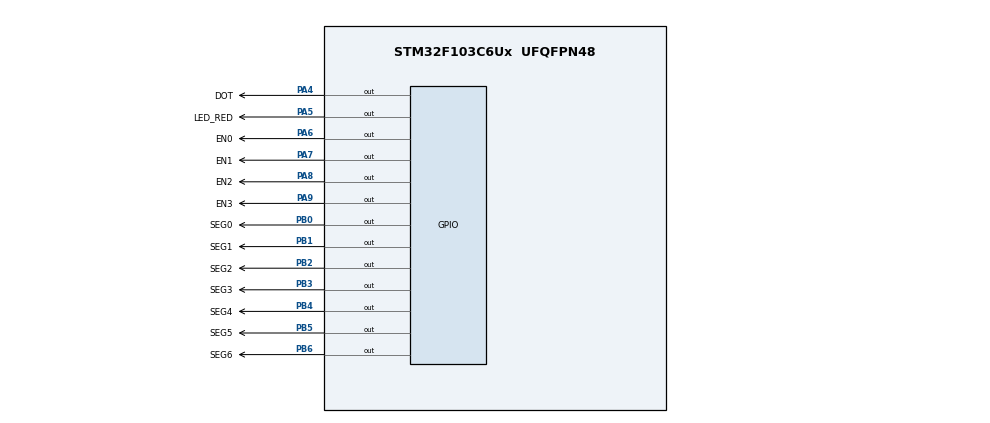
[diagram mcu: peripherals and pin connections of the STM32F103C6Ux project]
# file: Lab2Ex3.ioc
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Mcu.Family=STM32F1
Mcu.Name=STM32F103C6Ux
Mcu.Package=UFQFPN48
NVIC.PriorityGroup=NVIC_PRIORITYGROUP_4
NVIC.TIM2_IRQn=true\:0\:0\:false\:false\:true\:true\:true
PA4.GPIO_Label=DOT
PA4.Signal=GPIO_Output
PA5.GPIO_Label=LED_RED
PA5.Signal=GPIO_Output
PA6.GPIO_Label=EN0
PA6.Signal=GPIO_Output
PA7.GPIO_Label=EN1
PA7.Signal=GPIO_Output
PA8.GPIO_Label=EN2
PA8.Signal=GPIO_Output
PA9.GPIO_Label=EN3
PA9.Signal=GPIO_Output
PB0.GPIO_Label=SEG0
PB0.Signal=GPIO_Output
PB1.GPIO_Label=SEG1
PB1.Signal=GPIO_Output
PB2.GPIO_Label=SEG2
PB2.Signal=GPIO_Output
PB3.GPIO_Label=SEG3
PB3.Signal=GPIO_Output
PB4.GPIO_Label=SEG4
PB4.Signal=GPIO_Output
PB5.GPIO_Label=SEG5
PB5.Signal=GPIO_Output
PB6.GPIO_Label=SEG6
PB6.Signal=GPIO_Output
ProjectManager.HeapSize=0x200
ProjectManager.StackSize=0x400
ProjectManager.TargetToolchain=STM32CubeIDE
RCC.APB1Freq_Value=8000000
RCC.APB2Freq_Value=8000000
TIM2.Period=9
TIM2.Prescaler=7999
VP_SYS_VS_ND.Mode=No_Debug
VP_TIM2_VS_ClockSourceINT.Mode=Internal
board=custom

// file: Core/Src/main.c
/* USER CODE BEGIN Header */
/**
  ******************************************************************************
  * @file           : main.c
  * @brief          : Main program body
  ******************************************************************************
  * @attention
  *
  * <h2><center>&copy; Copyright (c) 2025 STMicroelectronics.
  * All rights reserved.</center></h2>
  *
  * This software component is licensed by ST under BSD 3-Clause license,
  * the "License"; You may not use this file except in compliance with the
  * License. You may obtain a copy of the License at:
  *                        opensource.org/licenses/BSD-3-Clause
  *
  ******************************************************************************
  */
/* USER CODE END Header */
#include "main.h"

TIM_HandleTypeDef htim2;

void SystemClock_Config(void);
static void MX_GPIO_Init(void);
static void MX_TIM2_Init(void);

/* USER CODE BEGIN 0 */

// 7SEG DISPLAY
void display7SEG(int num) {
	switch(num) {
		case 0:
			HAL_GPIO_WritePin(SEG0_GPIO_Port, SEG0_Pin, GPIO_PIN_RESET);
			HAL_GPIO_WritePin(SEG1_GPIO_Port, SEG1_Pin, GPIO_PIN_RESET);
			HAL_GPIO_WritePin(SEG2_GPIO_Port, SEG2_Pin, GPIO_PIN_RESET);
			HAL_GPIO_WritePin(SEG3_GPIO_Port, SEG3_Pin, GPIO_PIN_RESET);
			HAL_GPIO_WritePin(SEG4_GPIO_Port, SEG4_Pin, GPIO_PIN_RESET);
			HAL_GPIO_WritePin(SEG5_GPIO_Port, SEG5_Pin, GPIO_PIN_RESET);
			HAL_GPIO_WritePin(SEG6_GPIO_Port, SEG6_Pin, GPIO_PIN_SET);
			break;
		case 1:
			HAL_GPIO_WritePin(SEG0_GPIO_Port, SEG0_Pin, GPIO_PIN_SET);
			HAL_GPIO_WritePin(SEG1_GPIO_Port, SEG1_Pin, GPIO_PIN_RESET);
			HAL_GPIO_WritePin(SEG2_GPIO_Port, SEG2_Pin, GPIO_PIN_RESET);
			HAL_GPIO_WritePin(SEG3_GPIO_Port, SEG3_Pin, GPIO_PIN_SET);
			HAL_GPIO_WritePin(SEG4_GPIO_Port, SEG4_Pin, GPIO_PIN_SET);
			HAL_GPIO_WritePin(SEG5_GPIO_Port, SEG5_Pin, GPIO_PIN_SET);
			HAL_GPIO_WritePin(SEG6_GPIO_Port, SEG6_Pin, GPIO_PIN_SET);
			break;
		case 2:
			HAL_GPIO_WritePin(SEG0_GPIO_Port, SEG0_Pin, GPIO_PIN_RESET);
			HAL_GPIO_WritePin(SEG1_GPIO_Port, SEG1_Pin, GPIO_PIN_RESET);
			HAL_GPIO_WritePin(SEG2_GPIO_Port, SEG2_Pin, GPIO_PIN_SET);
			HAL_GPIO_WritePin(SEG3_GPIO_Port, SEG3_Pin, GPIO_PIN_RESET);
			HAL_GPIO_WritePin(SEG4_GPIO_Port, SEG4_Pin, GPIO_PIN_RESET);
			HAL_GPIO_WritePin(SEG5_GPIO_Port, SEG5_Pin, GPIO_PIN_SET);
			HAL_GPIO_WritePin(SEG6_GPIO_Port, SEG6_Pin, GPIO_PIN_RESET);
			break;
		case 3:
			HAL_GPIO_WritePin(SEG0_GPIO_Port, SEG0_Pin, GPIO_PIN_RESET);
			HAL_GPIO_WritePin(SEG1_GPIO_Port, SEG1_Pin, GPIO_PIN_RESET);
			HAL_GPIO_WritePin(SEG2_GPIO_Port, SEG2_Pin, GPIO_PIN_RESET);
			HAL_GPIO_WritePin(SEG3_GPIO_Port, SEG3_Pin, GPIO_PIN_RESET);
			HAL_GPIO_WritePin(SEG4_GPIO_Port, SEG4_Pin, GPIO_PIN_SET);
			HAL_GPIO_WritePin(SEG5_GPIO_Port, SEG5_Pin, GPIO_PIN_SET);
			HAL_GPIO_WritePin(SEG6_GPIO_Port, SEG6_Pin, GPIO_PIN_RESET);
			break;
		case 4:
			HAL_GPIO_WritePin(SEG0_GPIO_Port, SEG0_Pin, GPIO_PIN_SET);
			HAL_GPIO_WritePin(SEG1_GPIO_Port, SEG1_Pin, GPIO_PIN_RESET);
			HAL_GPIO_WritePin(SEG2_GPIO_Port, SEG2_Pin, GPIO_PIN_RESET);
			HAL_GPIO_WritePin(SEG3_GPIO_Port, SEG3_Pin, GPIO_PIN_SET);
			HAL_GPIO_WritePin(SEG4_GPIO_Port, SEG4_Pin, GPIO_PIN_SET);
			HAL_GPIO_WritePin(SEG5_GPIO_Port, SEG5_Pin, GPIO_PIN_RESET);
			HAL_GPIO_WritePin(SEG6_GPIO_Port, SEG6_Pin, GPIO_PIN_RESET);
			break;
		case 5:
			HAL_GPIO_WritePin(SEG0_GPIO_Port, SEG0_Pin, GPIO_PIN_RESET);
			HAL_GPIO_WritePin(SEG1_GPIO_Port, SEG1_Pin, GPIO_PIN_SET);
			HAL_GPIO_WritePin(SEG2_GPIO_Port, SEG2_Pin, GPIO_PIN_RESET);
			HAL_GPIO_WritePin(SEG3_GPIO_Port, SEG3_Pin, GPIO_PIN_RESET);
			HAL_GPIO_WritePin(SEG4_GPIO_Port, SEG4_Pin, GPIO_PIN_SET);
			HAL_GPIO_WritePin(SEG5_GPIO_Port, SEG5_Pin, GPIO_PIN_RESET);
			HAL_GPIO_WritePin(SEG6_GPIO_Port, SEG6_Pin, GPIO_PIN_RESET);
			break;
		case 6:
			HAL_GPIO_WritePin(SEG0_GPIO_Port, SEG0_Pin, GPIO_PIN_RESET);
			HAL_GPIO_WritePin(SEG1_GPIO_Port, SEG1_Pin, GPIO_PIN_SET);
			HAL_GPIO_WritePin(SEG2_GPIO_Port, SEG2_Pin, GPIO_PIN_RESET);
			HAL_GPIO_WritePin(SEG3_GPIO_Port, SEG3_Pin, GPIO_PIN_RESET);
			HAL_GPIO_WritePin(SEG4_GPIO_Port, SEG4_Pin, GPIO_PIN_RESET);
			HAL_GPIO_WritePin(SEG5_GPIO_Port, SEG5_Pin, GPIO_PIN_RESET);
			HAL_GPIO_WritePin(SEG6_GPIO_Port, SEG6_Pin, GPIO_PIN_RESET);
			break;
		case 7:
			HAL_GPIO_WritePin(SEG0_GPIO_Port, SEG0_Pin, GPIO_PIN_RESET);
			HAL_GPIO_WritePin(SEG1_GPIO_Port, SEG1_Pin, GPIO_PIN_RESET);
			HAL_GPIO_WritePin(SEG2_GPIO_Port, SEG2_Pin, GPIO_PIN_RESET);
			HAL_GPIO_WritePin(SEG3_GPIO_Port, SEG3_Pin, GPIO_PIN_SET);
			HAL_GPIO_WritePin(SEG4_GPIO_Port, SEG4_Pin, GPIO_PIN_SET);
			HAL_GPIO_WritePin(SEG5_GPIO_Port, SEG5_Pin, GPIO_PIN_SET);
			HAL_GPIO_WritePin(SEG6_GPIO_Port, SEG6_Pin, GPIO_PIN_SET);
			break;
		case 8:
			HAL_GPIO_WritePin(SEG0_GPIO_Port, SEG0_Pin, GPIO_PIN_RESET);
			HAL_GPIO_WritePin(SEG1_GPIO_Port, SEG1_Pin, GPIO_PIN_RESET);
			HAL_GPIO_WritePin(SEG2_GPIO_Port, SEG2_Pin, GPIO_PIN_RESET);
			HAL_GPIO_WritePin(SEG3_GPIO_Port, SEG3_Pin, GPIO_PIN_RESET);
			HAL_GPIO_WritePin(SEG4_GPIO_Port, SEG4_Pin, GPIO_PIN_RESET);
			HAL_GPIO_WritePin(SEG5_GPIO_Port, SEG5_Pin, GPIO_PIN_RESET);
			HAL_GPIO_WritePin(SEG6_GPIO_Port, SEG6_Pin, GPIO_PIN_RESET);
			break;
		case 9:
			HAL_GPIO_WritePin(SEG0_GPIO_Port, SEG0_Pin, GPIO_PIN_RESET);
			HAL_GPIO_WritePin(SEG1_GPIO_Port, SEG1_Pin, GPIO_PIN_RESET);
			HAL_GPIO_WritePin(SEG2_GPIO_Port, SEG2_Pin, GPIO_PIN_RESET);
			HAL_GPIO_WritePin(SEG3_GPIO_Port, SEG3_Pin, GPIO_PIN_RESET);
			HAL_GPIO_WritePin(SEG4_GPIO_Port, SEG4_Pin, GPIO_PIN_SET);
			HAL_GPIO_WritePin(SEG5_GPIO_Port, SEG5_Pin, GPIO_PIN_RESET);
			HAL_GPIO_WritePin(SEG6_GPIO_Port, SEG6_Pin, GPIO_PIN_RESET);
			break;
		default:
			HAL_GPIO_WritePin(SEG0_GPIO_Port, SEG0_Pin, GPIO_PIN_SET);
			HAL_GPIO_WritePin(SEG1_GPIO_Port, SEG1_Pin, GPIO_PIN_SET);
			HAL_GPIO_WritePin(SEG2_GPIO_Port, SEG2_Pin, GPIO_PIN_SET);
			HAL_GPIO_WritePin(SEG3_GPIO_Port, SEG3_Pin, GPIO_PIN_SET);
			HAL_GPIO_WritePin(SEG4_GPIO_Port, SEG4_Pin, GPIO_PIN_SET);
			HAL_GPIO_WritePin(SEG5_GPIO_Port, SEG5_Pin, GPIO_PIN_SET);
			HAL_GPIO_WritePin(SEG6_GPIO_Port, SEG6_Pin, GPIO_PIN_SET);
	};
};

const int MAX_LED = 4;
int index_led = 0;
int led_buffer[4] = {1, 2, 3, 0};

void update7SEG(int index)
{
	switch(index)
	{
	case 0:
		//Display the first 7SEG with led_buffer[0]
		display7SEG(led_buffer[0]);
		HAL_GPIO_WritePin(EN0_GPIO_Port, EN0_Pin, GPIO_PIN_RESET);
		HAL_Delay(500);
		HAL_GPIO_WritePin(EN0_GPIO_Port, EN0_Pin, GPIO_PIN_SET);
		break;

	case 1:
		//Display the second 7SEG with led_buffer[1]
		display7SEG(led_buffer[1]);
		HAL_GPIO_WritePin(EN1_GPIO_Port, EN1_Pin, GPIO_PIN_RESET);
		HAL_Delay(500);
		HAL_GPIO_WritePin(EN1_GPIO_Port, EN1_Pin, GPIO_PIN_SET);
		break;

	case 2:
		//Display the third 7SEG with led_buffer[2]
		display7SEG(led_buffer[2]);
		HAL_GPIO_WritePin(EN2_GPIO_Port, EN2_Pin, GPIO_PIN_RESET);
		HAL_Delay(500);
		HAL_GPIO_WritePin(EN2_GPIO_Port, EN2_Pin, GPIO_PIN_SET);
		break;

	case 3:
		//Display the forth 7SEG with led_buffer[3]
		display7SEG(led_buffer[3]);
		HAL_GPIO_WritePin(EN3_GPIO_Port, EN3_Pin, GPIO_PIN_RESET);
		HAL_Delay(500);
		HAL_GPIO_WritePin(EN3_GPIO_Port, EN3_Pin, GPIO_PIN_SET);
		break;

	default:
		break;

	};
};

/* USER CODE END 0 */

int main(void)
{

  /* MCU Configuration--------------------------------------------------------*/

  /* Reset of all peripherals, Initializes the Flash interface and the Systick. */
  HAL_Init();

  /* Configure the system clock */
  SystemClock_Config();

  /* Initialize all configured peripherals */
  MX_GPIO_Init();
  MX_TIM2_Init();
  /* USER CODE BEGIN 2 */

  // TIMER INIT FUNCTION
  HAL_TIM_Base_Start_IT(&htim2);

  /* USER CODE END 2 */

  /* Infinite loop */
  while (1)
  {

  }
}

void SystemClock_Config(void)
{
  RCC_OscInitTypeDef RCC_OscInitStruct = {0};
  RCC_ClkInitTypeDef RCC_ClkInitStruct = {0};

  /** Initializes the RCC Oscillators according to the specified parameters
  * in the RCC_OscInitTypeDef structure.
  */
  RCC_OscInitStruct.OscillatorType = RCC_OSCILLATORTYPE_HSI;
  RCC_OscInitStruct.HSIState = RCC_HSI_ON;
  RCC_OscInitStruct.HSICalibrationValue = RCC_HSICALIBRATION_DEFAULT;
  RCC_OscInitStruct.PLL.PLLState = RCC_PLL_NONE;
  if (HAL_RCC_OscConfig(&RCC_OscInitStruct) != HAL_OK)
  {
    Error_Handler();
  }
  /** Initializes the CPU, AHB and APB buses clocks
  */
  RCC_ClkInitStruct.ClockType = RCC_CLOCKTYPE_HCLK|RCC_CLOCKTYPE_SYSCLK
                              |RCC_CLOCKTYPE_PCLK1|RCC_CLOCKTYPE_PCLK2;
  RCC_ClkInitStruct.SYSCLKSource = RCC_SYSCLKSOURCE_HSI;
  RCC_ClkInitStruct.AHBCLKDivider = RCC_SYSCLK_DIV1;
  RCC_ClkInitStruct.APB1CLKDivider = RCC_HCLK_DIV1;
  RCC_ClkInitStruct.APB2CLKDivider = RCC_HCLK_DIV1;

  if (HAL_RCC_ClockConfig(&RCC_ClkInitStruct, FLASH_LATENCY_0) != HAL_OK)
  {
    Error_Handler();
  }
}

static void MX_TIM2_Init(void)
{

  TIM_ClockConfigTypeDef sClockSourceConfig = {0};
  TIM_MasterConfigTypeDef sMasterConfig = {0};

  htim2.Instance = TIM2;
  htim2.Init.Prescaler = 7999;
  htim2.Init.CounterMode = TIM_COUNTERMODE_UP;
  htim2.Init.Period = 9;
  htim2.Init.ClockDivision = TIM_CLOCKDIVISION_DIV1;
  htim2.Init.AutoReloadPreload = TIM_AUTORELOAD_PRELOAD_DISABLE;
  if (HAL_TIM_Base_Init(&htim2) != HAL_OK)
  {
    Error_Handler();
  }
  sClockSourceConfig.ClockSource = TIM_CLOCKSOURCE_INTERNAL;
  if (HAL_TIM_ConfigClockSource(&htim2, &sClockSourceConfig) != HAL_OK)
  {
    Error_Handler();
  }
  sMasterConfig.MasterOutputTrigger = TIM_TRGO_RESET;
  sMasterConfig.MasterSlaveMode = TIM_MASTERSLAVEMODE_DISABLE;
  if (HAL_TIMEx_MasterConfigSynchronization(&htim2, &sMasterConfig) != HAL_OK)
  {
    Error_Handler();
  }

}

static void MX_GPIO_Init(void)
{
  GPIO_InitTypeDef GPIO_InitStruct = {0};

  /* GPIO Ports Clock Enable */
  __HAL_RCC_GPIOA_CLK_ENABLE();
  __HAL_RCC_GPIOB_CLK_ENABLE();

  /*Configure GPIO pin Output Level */
  HAL_GPIO_WritePin(GPIOA, DOT_Pin|LED_RED_Pin|EN0_Pin|EN1_Pin
                          |EN2_Pin|EN3_Pin, GPIO_PIN_RESET);

  /*Configure GPIO pin Output Level */
  HAL_GPIO_WritePin(GPIOB, SEG0_Pin|SEG1_Pin|SEG2_Pin|SEG3_Pin
                          |SEG4_Pin|SEG5_Pin|SEG6_Pin, GPIO_PIN_RESET);

  /*Configure GPIO pins : DOT_Pin LED_RED_Pin EN0_Pin EN1_Pin
                           EN2_Pin EN3_Pin */
  GPIO_InitStruct.Pin = DOT_Pin|LED_RED_Pin|EN0_Pin|EN1_Pin
                          |EN2_Pin|EN3_Pin;
  GPIO_InitStruct.Mode = GPIO_MODE_OUTPUT_PP;
  GPIO_InitStruct.Pull = GPIO_NOPULL;
  GPIO_InitStruct.Speed = GPIO_SPEED_FREQ_LOW;
  HAL_GPIO_Init(GPIOA, &GPIO_InitStruct);

  /*Configure GPIO pins : SEG0_Pin SEG1_Pin SEG2_Pin SEG3_Pin
                           SEG4_Pin SEG5_Pin SEG6_Pin */
  GPIO_InitStruct.Pin = SEG0_Pin|SEG1_Pin|SEG2_Pin|SEG3_Pin
                          |SEG4_Pin|SEG5_Pin|SEG6_Pin;
  GPIO_InitStruct.Mode = GPIO_MODE_OUTPUT_PP;
  GPIO_InitStruct.Pull = GPIO_NOPULL;
  GPIO_InitStruct.Speed = GPIO_SPEED_FREQ_LOW;
  HAL_GPIO_Init(GPIOB, &GPIO_InitStruct);

}

/* USER CODE BEGIN 4 */

int counter = 100;
void HAL_TIM_PeriodElapsedCallback(TIM_HandleTypeDef *htim)
{
	counter--;
	if(counter <= 0)
	{
		counter = 100;

		// DOT ON
		HAL_GPIO_WritePin(LED_RED_GPIO_Port, LED_RED_Pin, GPIO_PIN_RESET);
		HAL_GPIO_WritePin(DOT_GPIO_Port, DOT_Pin, GPIO_PIN_RESET);

		// 1ST DIGIT (EN0)
		if(index_led >= MAX_LED) index_led = 0;
		update7SEG(index_led++);

		// 2ND DIGIT (EN1)
		if(index_led >= MAX_LED) index_led = 0;
		update7SEG(index_led++);

		// DOT OFF
		HAL_GPIO_WritePin(LED_RED_GPIO_Port, LED_RED_Pin, GPIO_PIN_SET);
		HAL_GPIO_WritePin(DOT_GPIO_Port, DOT_Pin, GPIO_PIN_SET);

		// 3RD DIGIT (EN2)
		if(index_led >= MAX_LED) index_led = 0;
		update7SEG(index_led++);

		// 4TH DIGIT (EN3)
		if(index_led >= MAX_LED) index_led = 0;
		update7SEG(index_led++);

	}
}

/* USER CODE END 4 */

void Error_Handler(void)
{
  __disable_irq();
  while (1)
  {
  }
}

/************************ (C) COPYRIGHT STMicroelectronics *****END OF FILE****/
